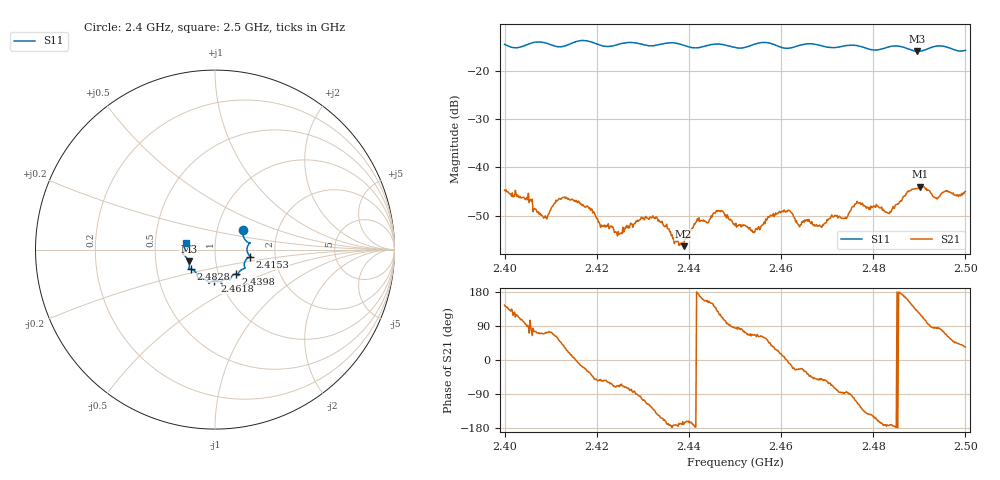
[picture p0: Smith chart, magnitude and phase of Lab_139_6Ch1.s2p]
# Hz S RI R 50
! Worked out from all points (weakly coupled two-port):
!   601 points, 2.4 GHz to 2.5 GHz, reference 50 ohm
!   highest |S21| = -43.96 dB at 2.4902 GHz (marker M1); lowest = -56.3 dB at 2.4388 GHz (marker M2)
!   lowest |S11| = -15.9 dB at 2.4895 GHz (marker M3), VSWR 1.38, Z = 37 - j5.01 ohm
!   |S11| at or under -10 dB: start of sweep to end of sweep
!   S12 and S22 are empty: the file has one direction only
!   S11 on the Smith chart (normalised r, x): 2.4 GHz: 1.33, +0.30; 2.4153 GHz: 1.48, -0.12; 2.4398 GHz: 1.21, -0.34; 2.4618 GHz: 0.94, -0.33; 2.4828 GHz: 0.74, -0.17; 2.5 GHz: 0.72, +0.06
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2.4e9  0.1553 0.1071  -0.00476 0.00336  0 0  0 0
2.408667e9  0.1934 0.0359  0.00104 0.00287  0 0  0 0
2.411667e9  0.1783 0.00503  0.00276 0.00378  0 0  0 0
2.415333e9  0.1965 -0.0389  0.00443 0.000167  0 0  0 0
2.416667e9  0.2025 -0.0429  0.00395 -0.00108  0 0  0 0
2.424833e9  0.1643 -0.0952  0.000681 -0.00193  0 0  0 0
2.433333e9  0.1305 -0.1336  -0.00231 -0.00155  0 0  0 0
2.438833e9  0.1239 -0.1373  -0.00151 -0.000255  0 0  0 0
2.439833e9  0.1155 -0.1359  -0.00194 -0.000572  0 0  0 0
2.4465e9  0.0852 -0.1702  -0.00188 0.00302  0 0  0 0
2.45e9  0.0654 -0.1626  0.000262 0.00248  0 0  0 0
2.454333e9  0.0354 -0.187  0.00086 0.002  0 0  0 0
2.461833e9  -0.00297 -0.1726  0.00353 -0.000602  0 0  0 0
2.466667e9  -0.0343 -0.1881  0.00193 -0.00195  0 0  0 0
2.473833e9  -0.0868 -0.1606  0.000181 -0.00297  0 0  0 0
2.476667e9  -0.0958 -0.1553  -0.00186 -0.00386  0 0  0 0
2.482833e9  -0.1364 -0.1093  -0.00344 -0.000314  0 0  0 0
2.483333e9  -0.1403 -0.109  -0.00332 -0.000426  0 0  0 0
2.4895e9  -0.1458 -0.0659  -0.00395 0.00461  0 0  0 0
2.490167e9  -0.1505 -0.0563  -0.00326 0.00544  0 0  0 0
2.4935e9  -0.1788 -0.0247  0.000422 0.00482  0 0  0 0
2.5e9  -0.1592 0.0387  0.00468 0.00318  0 0  0 0
